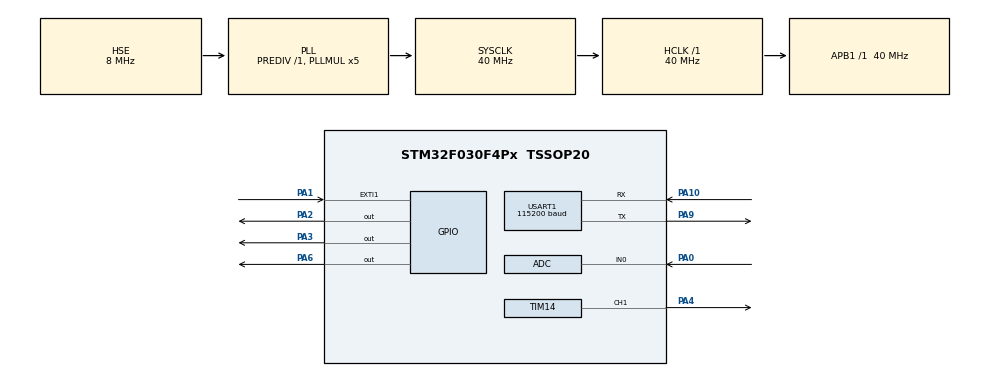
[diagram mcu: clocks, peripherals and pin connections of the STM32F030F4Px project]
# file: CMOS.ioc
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ADC.ContinuousConvMode=ENABLE
ADC.DMAContinuousRequests=ENABLE
Dma.ADC.0.Direction=DMA_PERIPH_TO_MEMORY
Dma.ADC.0.Instance=DMA1_Channel1
Dma.ADC.0.MemDataAlignment=DMA_MDATAALIGN_HALFWORD
Dma.ADC.0.MemInc=DMA_MINC_ENABLE
Dma.ADC.0.Mode=DMA_CIRCULAR
Dma.ADC.0.PeriphDataAlignment=DMA_PDATAALIGN_HALFWORD
Dma.ADC.0.PeriphInc=DMA_PINC_DISABLE
Dma.ADC.0.Priority=DMA_PRIORITY_HIGH
Dma.Request0=ADC
Mcu.Family=STM32F0
Mcu.Name=STM32F030F4Px
Mcu.Package=TSSOP20
NVIC.DMA1_Channel1_IRQn=true\:0\:0\:false\:false\:true\:false\:true\:true
NVIC.EXTI0_1_IRQn=true\:0\:0\:false\:false\:true\:true\:true\:true
NVIC.TIM14_IRQn=true\:0\:0\:false\:false\:true\:true\:true\:true
NVIC.TIM1_BRK_UP_TRG_COM_IRQn=true\:0\:0\:false\:false\:true\:true\:true\:true
NVIC.USART1_IRQn=true\:0\:0\:false\:false\:true\:true\:true\:true
PA0.Mode=IN0
PA0.Signal=ADC_IN0
PA1.Signal=GPXTI1
PA10.Mode=Asynchronous
PA10.Signal=USART1_RX
PA13.Mode=Serial_Wire
PA13.Signal=SYS_SWDIO
PA14.Mode=Serial_Wire
PA14.Signal=SYS_SWCLK
PA2.Signal=GPIO_Output
PA3.Signal=GPIO_Output
PA4.Signal=S_TIM14_CH1
PA6.Signal=GPIO_Output
PA9.Mode=Asynchronous
PA9.Signal=USART1_TX
PF0-OSC_IN.Mode=HSE-External-Oscillator
PF0-OSC_IN.Signal=RCC_OSC_IN
PF1-OSC_OUT.Mode=HSE-External-Oscillator
PF1-OSC_OUT.Signal=RCC_OSC_OUT
ProjectManager.HeapSize=0x200
ProjectManager.StackSize=0x400
ProjectManager.TargetToolchain=MDK-ARM V5.32
RCC.AHBFreq_Value=40000000
RCC.APB1Freq_Value=40000000
RCC.APB1TimFreq_Value=40000000
RCC.HCLKFreq_Value=40000000
RCC.PLLMUL=RCC_PLL_MUL5
RCC.PLLSourceVirtual=RCC_PLLSOURCE_HSE
RCC.SYSCLKFreq_VALUE=40000000
RCC.SYSCLKSource=RCC_SYSCLKSOURCE_PLLCLK
SH.S_TIM14_CH1.0=TIM14_CH1,PWM Generation1 CH1
TIM1.AutoReloadPreload=TIM_AUTORELOAD_PRELOAD_ENABLE
TIM1.Period=999
TIM1.Prescaler=3
TIM14.AutoReloadPreload=TIM_AUTORELOAD_PRELOAD_ENABLE
TIM14.Channel=TIM_CHANNEL_1
TIM14.Period=999
TIM14.Prescaler=3
TIM14.Pulse=499
USART1.BaudRate=115200
USART1.VirtualMode-Asynchronous=VM_ASYNC
VP_TIM14_VS_ClockSourceINT.Mode=Enable_Timer
VP_TIM1_VS_ClockSourceINT.Mode=Internal
board=custom

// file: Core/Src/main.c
/* USER CODE BEGIN Header */
/**
  ******************************************************************************
  * @file           : main.c
  * @brief          : Main program body
  ******************************************************************************
  * @attention
  *
  * Copyright (c) 2024 STMicroelectronics.
  * All rights reserved.
  *
  * This software is licensed under terms that can be found in the LICENSE file
  * in the root directory of this software component.
  * If no LICENSE file comes with this software, it is provided AS-IS.
  *
  ******************************************************************************
  */
/* USER CODE END Header */
#include "main.h"
#include "adc.h"
#include "dma.h"
#include "tim.h"
#include "usart.h"
#include "gpio.h"

/* USER CODE BEGIN Includes */
#include "stm32f0xx_hal.h"
#include "string.h"
#include <stdlib.h>
#include <stdio.h>
/* USER CODE END Includes */

/* USER CODE BEGIN PV */
uint16_t adcBuf[LSD_SIZE];
char p_buf[128];
/* USER CODE END PV */

void SystemClock_Config(void);
/* USER CODE BEGIN PFP */
extern uint8_t aRxBuffer;

/* USER CODE END PFP */

int main(void)
{

  /* MCU Configuration--------------------------------------------------------*/

  /* Reset of all peripherals, Initializes the Flash interface and the Systick. */
  HAL_Init();

  /* Configure the system clock */
  SystemClock_Config();

  /* Initialize all configured peripherals */
  MX_GPIO_Init();
  MX_DMA_Init();
  MX_ADC_Init();
  MX_TIM14_Init();
  MX_USART1_UART_Init();
  MX_TIM1_Init();
  /* USER CODE BEGIN 2 */
  HAL_Delay(100);

  HAL_TIM_Base_Start_IT(&htim1);          //使能中断
  HAL_TIM_Base_Start(&htim1);
  HAL_TIM_PWM_Start(&htim14,TIM_CHANNEL_1);	// CP Clock(5MHz)     : PA4

  HAL_Delay(100);

  HAL_UART_Receive_IT(&huart1, (uint8_t *)&aRxBuffer, 1);

  printf("========== c378 Test Start fan ==========\r\n\r\n");

//  HAL_UART_Transmit_DMA(&huart1, (uint8_t *)"========== c378 Test Start fan ==========\r\n\r\n", 45);
  /* USER CODE END 2 */

  /* Infinite loop */
  /* USER CODE BEGIN WHILE */
//  HAL_GPIO_WritePin(GPIOA, GPIO_PIN_6, GPIO_PIN_SET);
  while (1)
  {
    /* USER CODE END WHILE */

    /* USER CODE BEGIN 3 */
	  UART_TEST_HANDLE();

//	  HAL_Delay(1000);
  }
  /* USER CODE END 3 */
}

void SystemClock_Config(void)
{
  RCC_OscInitTypeDef RCC_OscInitStruct = {0};
  RCC_ClkInitTypeDef RCC_ClkInitStruct = {0};
  RCC_PeriphCLKInitTypeDef PeriphClkInit = {0};

  /** Initializes the RCC Oscillators according to the specified parameters
  * in the RCC_OscInitTypeDef structure.
  */
  RCC_OscInitStruct.OscillatorType = RCC_OSCILLATORTYPE_HSI14|RCC_OSCILLATORTYPE_HSE;
  RCC_OscInitStruct.HSEState = RCC_HSE_ON;
  RCC_OscInitStruct.HSI14State = RCC_HSI14_ON;
  RCC_OscInitStruct.HSI14CalibrationValue = 16;
  RCC_OscInitStruct.PLL.PLLState = RCC_PLL_ON;
  RCC_OscInitStruct.PLL.PLLSource = RCC_PLLSOURCE_HSE;
  RCC_OscInitStruct.PLL.PLLMUL = RCC_PLL_MUL5;
  RCC_OscInitStruct.PLL.PREDIV = RCC_PREDIV_DIV1;
  if (HAL_RCC_OscConfig(&RCC_OscInitStruct) != HAL_OK)
  {
    Error_Handler();
  }

  /** Initializes the CPU, AHB and APB buses clocks
  */
  RCC_ClkInitStruct.ClockType = RCC_CLOCKTYPE_HCLK|RCC_CLOCKTYPE_SYSCLK
                              |RCC_CLOCKTYPE_PCLK1;
  RCC_ClkInitStruct.SYSCLKSource = RCC_SYSCLKSOURCE_PLLCLK;
  RCC_ClkInitStruct.AHBCLKDivider = RCC_SYSCLK_DIV1;
  RCC_ClkInitStruct.APB1CLKDivider = RCC_HCLK_DIV1;

  if (HAL_RCC_ClockConfig(&RCC_ClkInitStruct, FLASH_LATENCY_1) != HAL_OK)
  {
    Error_Handler();
  }
  PeriphClkInit.PeriphClockSelection = RCC_PERIPHCLK_USART1;
  PeriphClkInit.Usart1ClockSelection = RCC_USART1CLKSOURCE_PCLK1;
  if (HAL_RCCEx_PeriphCLKConfig(&PeriphClkInit) != HAL_OK)
  {
    Error_Handler();
  }
}

void Error_Handler(void)
{
  __disable_irq();
  while (1)
  {
  }
}
